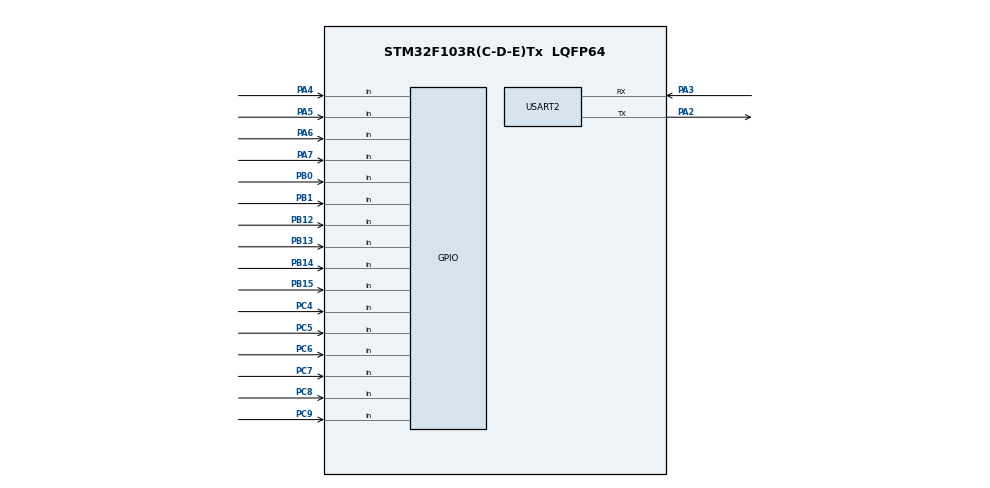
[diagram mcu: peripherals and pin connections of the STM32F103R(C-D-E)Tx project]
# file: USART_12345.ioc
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Mcu.Family=STM32F1
Mcu.Name=STM32F103R(C-D-E)Tx
Mcu.Package=LQFP64
NVIC.PriorityGroup=NVIC_PRIORITYGROUP_4
NVIC.TIM4_IRQn=true\:0\:0\:false\:false\:true\:true\:true
NVIC.USART2_IRQn=true\:0\:0\:false\:false\:true\:true\:true
PA13.Mode=Serial_Wire
PA13.Signal=SYS_JTMS-SWDIO
PA14.Mode=Serial_Wire
PA14.Signal=SYS_JTCK-SWCLK
PA2.Mode=Asynchronous
PA2.Signal=USART2_TX
PA3.Mode=Asynchronous
PA3.Signal=USART2_RX
PA4.Signal=GPIO_Input
PA5.Signal=GPIO_Input
PA6.Signal=GPIO_Input
PA7.Signal=GPIO_Input
PB0.Signal=GPIO_Input
PB1.Signal=GPIO_Input
PB12.Signal=GPIO_Input
PB13.Signal=GPIO_Input
PB14.Signal=GPIO_Input
PB15.Signal=GPIO_Input
PC4.Signal=GPIO_Input
PC5.Signal=GPIO_Input
PC6.Signal=GPIO_Input
PC7.Signal=GPIO_Input
PC8.Signal=GPIO_Input
PC9.Signal=GPIO_Input
ProjectManager.HeapSize=0x200
ProjectManager.StackSize=0x400
ProjectManager.TargetToolchain=MDK-ARM V5.27
RCC.APB1Freq_Value=8000000
RCC.APB2Freq_Value=8000000
TIM4.Period=7999
TIM4.Prescaler=999
USART2.VirtualMode=VM_ASYNC
VP_TIM4_VS_ClockSourceINT.Mode=Internal
board=custom

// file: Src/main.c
/* USER CODE BEGIN Header */
/**
  ******************************************************************************
  * @file           : main.c
  * @brief          : Main program body
  ******************************************************************************
  * @attention
  *
  * <h2><center>&copy; Copyright (c) 2020 STMicroelectronics.
  * All rights reserved.</center></h2>
  *
  * This software component is licensed by ST under BSD 3-Clause license,
  * the "License"; You may not use this file except in compliance with the
  * License. You may obtain a copy of the License at:
  *                        opensource.org/licenses/BSD-3-Clause
  *
  ******************************************************************************
  */
/* USER CODE END Header */

#include "main.h"
#include "stdio.h"
#include "string.h"

TIM_HandleTypeDef htim4;

UART_HandleTypeDef huart2;

void SystemClock_Config(void);
static void MX_GPIO_Init(void);
static void MX_TIM4_Init(void);
static void MX_USART2_UART_Init(void);

	void paint (int massiv[8][8], int  v)
 {
	 int i,j;
			for (int c; c<v;c++)// sickle delay infomation
			{
				for (int i=0;i<8;i++)
					for(int j=0;j<8;j++)
					{
						if(massiv[i][j]==1)// i == 1 amd j == 1
						{
							//on stolbec
							GPIOA -> ODR = 0xC0;
							GPIOB -> ODR = 0xF000;
							GPIOC -> ODR = 0x300;
							for ( int a=0;a<400;a++);// delay
							//on stroka
							GPIOA -> ODR |= 0x30;
							GPIOB -> ODR |= 0x3;
							GPIOC -> ODR |= 0xF0;
						}
						else
						{
														//on stolbec
							GPIOA -> ODR = 0xC0;
							GPIOB -> ODR = 0xF000;
							GPIOC -> ODR = 0x300;
							for ( int a=0;a<400;a++);// delay
							//on stroka
							GPIOA -> ODR |= 0x30;
							GPIOB -> ODR |= 0x3;
							GPIOC -> ODR |= 0xF0;
						}
			}
	}
}
int main(void)
{
  /* USER CODE BEGIN 1 */

	//USART

	uint8_t str[]="Hello, run led indication?\r\n";// dlia voltage

	//uint8_t slstroka[]="\r\n";

	//char kek[9];
  /* USER CODE END 1 */

  /* MCU Configuration--------------------------------------------------------*/

  /* Reset of all peripherals, Initializes the Flash interface and the Systick. */
  HAL_Init();

  /* Configure the system clock */
  SystemClock_Config();

  /* Initialize all configured peripherals */
  MX_GPIO_Init();
  MX_TIM4_Init();
  MX_USART2_UART_Init();

  /* Infinite loop */
  /* USER CODE BEGIN WHILE */

		HAL_UART_Transmit(&huart2,str,27,0xFFFF);// otpravka dannix
		HAL_Delay(100);
  while (1)
  {

	RCC->APB2ENR = 0x7C;// turn on shina APB2

	uint32_t row[8]={0x20000,0x200000, 0x2,0x20, 0x20000,0x200000,0x2000000,0x20000000};// string for CRL on HEX
	uint32_t col[8]={0x2000000,0x20000000, 0x20000,0x200000,0x2000000,0x2000000, 0x2,0x20};// collown for CRL and CRH on HEX

	//row = 4, 5,  0, 1,  4, 5, 6, 7
	//col = 6, 7,  12, 13, 14, 15,  8, 9

	int i=0,j=0,a,c, v=3;

	// symbol's array
	int massiv[8][8]= {

		1,1,1,1,1,1,1,1,
		1,0,0,0,0,0,0,1,
		1,0,0,0,0,0,0,1,
		1,0,0,1,1,0,0,1,
		1,0,0,1,1,0,0,1,
		1,0,0,0,0,0,0,1,
		1,0,0,0,0,0,0,1,
		1,1,1,1,1,1,1,1
	};
		RCC->APB2ENR = 0x7C;// turn on shina APB2
	//row = 4, 5,  0, 1,  4, 5, 6, 7
	//col = 6, 7,  12, 13, 14, 15,  8, 9

		for(int i=0; i<8;i++)//string pins turn on rejim pull-up-down
		{
				if(i==0 || i ==1){
				GPIOA -> CRL = row[i];
				}
				if(i==2 || i==3){
				GPIOB -> CRL = row[i];
				}
				if(i==4 || i==5 || i==6 || i==7 || i==8){
				GPIOC -> CRL = row[i];
				}
		}

	for(int i=0; i<8;i++)//row pins turn on rejim pull-up-down
		{
				if(i==0 || i ==1){
				GPIOA -> CRL |= col[i];
				}
				if(i==2 || i==3 || i==4 || i==5 || i==6){
				GPIOB -> CRH |= col[i];
				}
				if(i==7 || i==8){
				GPIOC -> CRH |= col[i];
				}
		}
				for(int i=0; i<8;i++)//string pins turn on rejim pull-up-down
		{
				if(i==0 || i ==1){
				GPIOA -> ODR = row[i];
				}
				if(i==2 || i==3){
				GPIOB -> ODR = row[i];
				}
				if(i==4 || i==5 || i==6 || i==7 || i==8){
				GPIOC -> ODR = row[i];
				}
		}
			while(1)
	{
		paint(massiv,v);
		//scroll(massiv,t);
	}

	  /*   Y8 -	40 PC9			   	 Y6 - 27 PB1
	in	 X5 -	39 PC8				   Y3 -1 26 PB0
	in	 X3 -	38 PC7				in X4 - 25 PC5
		   Y5 -	37 PC6				   Y1 - 24 PC4
	in	 X8 -	36 PB15				in X6 - 23 PA7
		   Y7 -	35 PB14				in X7 - 22 PA6
	in	 X2 - 34 PB13				   Y2 - 21 PA5
	in	 X1 - 33 PB12				   Y4 - 20 PA4

		 port A  4 5         6 7
		 port B  0 1         12 13 14 15
		 port C  4 5 6 7     8 9

 */
 			// 	1 	 2	 3	 4	 5	 6	 7	 8
			//	|		 |	 |	 |	 |	 |	 |	 |
			//	| 	 |	 |	 |	 |	 |	 |	 |
			//	13	 3   4   10  6   11  15  16
	//1--9 	*	  *	  *	  *	  *	  *	  *	  *

	//2--14 *	  *	  *	  *	  *	  *	  *	  *

	//3--8  *	  *	  *	  *	  *	  *	  *	  *

	//4--12 *	  *	  *	  *	  *	  *	  *	  *

	//5--1  *	  *	  *	  *	  *	  *	  *	  *

	//6--7  *	  *	  *	  *	  *	  *	  *	  *

	//7--2  *	  *	  *	  *	  *	  *	  *	  *

	//8--5  *	  *	  *	  *	  *	  *	  *	  *

	//---------------------------------------

 /*    Y8 -	40 PC9		--9			       Y6 - 27 PB1		--8
	in	 X5 -	39 PC8		--10				   Y3 -1 26 PB0		--7
	in	 X3 -	38 PC7		--11				in X4 - 25 PC5		--6
		   Y5 -	37 PC6		--12				   Y1 - 24 PC4		--5
	in	 X8 -	36 PB15		--13				in X6 - 23 PA7		--4
		   Y7 -	35 PB14		--14				in X7 - 22 PA6		--3
	in	 X2 - 34 PB13		--15				   Y2 - 21 PA5		--2
	in	 X1 - 33 PB12		--16				   Y4 - 20 PA4		--1

		 port A  4 5         6 7
		 port B  0 1         12 13 14 15
		 port C  4 5 6 7     8 9

 */

    /* USER CODE END WHILE */

  }
}

void SystemClock_Config(void)
{
  RCC_OscInitTypeDef RCC_OscInitStruct = {0};
  RCC_ClkInitTypeDef RCC_ClkInitStruct = {0};

  /** Initializes the CPU, AHB and APB busses clocks
  */
  RCC_OscInitStruct.OscillatorType = RCC_OSCILLATORTYPE_HSI;
  RCC_OscInitStruct.HSIState = RCC_HSI_ON;
  RCC_OscInitStruct.HSICalibrationValue = RCC_HSICALIBRATION_DEFAULT;
  RCC_OscInitStruct.PLL.PLLState = RCC_PLL_NONE;
  if (HAL_RCC_OscConfig(&RCC_OscInitStruct) != HAL_OK)
  {
    Error_Handler();
  }
  /** Initializes the CPU, AHB and APB busses clocks
  */
  RCC_ClkInitStruct.ClockType = RCC_CLOCKTYPE_HCLK|RCC_CLOCKTYPE_SYSCLK
                              |RCC_CLOCKTYPE_PCLK1|RCC_CLOCKTYPE_PCLK2;
  RCC_ClkInitStruct.SYSCLKSource = RCC_SYSCLKSOURCE_HSI;
  RCC_ClkInitStruct.AHBCLKDivider = RCC_SYSCLK_DIV1;
  RCC_ClkInitStruct.APB1CLKDivider = RCC_HCLK_DIV1;
  RCC_ClkInitStruct.APB2CLKDivider = RCC_HCLK_DIV1;

  if (HAL_RCC_ClockConfig(&RCC_ClkInitStruct, FLASH_LATENCY_0) != HAL_OK)
  {
    Error_Handler();
  }
}

static void MX_TIM4_Init(void)
{

  TIM_ClockConfigTypeDef sClockSourceConfig = {0};
  TIM_MasterConfigTypeDef sMasterConfig = {0};

  htim4.Instance = TIM4;
  htim4.Init.Prescaler = 999;
  htim4.Init.CounterMode = TIM_COUNTERMODE_UP;
  htim4.Init.Period = 7999;
  htim4.Init.ClockDivision = TIM_CLOCKDIVISION_DIV1;
  htim4.Init.AutoReloadPreload = TIM_AUTORELOAD_PRELOAD_DISABLE;
  if (HAL_TIM_Base_Init(&htim4) != HAL_OK)
  {
    Error_Handler();
  }
  sClockSourceConfig.ClockSource = TIM_CLOCKSOURCE_INTERNAL;
  if (HAL_TIM_ConfigClockSource(&htim4, &sClockSourceConfig) != HAL_OK)
  {
    Error_Handler();
  }
  sMasterConfig.MasterOutputTrigger = TIM_TRGO_RESET;
  sMasterConfig.MasterSlaveMode = TIM_MASTERSLAVEMODE_DISABLE;
  if (HAL_TIMEx_MasterConfigSynchronization(&htim4, &sMasterConfig) != HAL_OK)
  {
    Error_Handler();
  }

}

static void MX_USART2_UART_Init(void)
{

  huart2.Instance = USART2;
  huart2.Init.BaudRate = 115200;
  huart2.Init.WordLength = UART_WORDLENGTH_8B;
  huart2.Init.StopBits = UART_STOPBITS_1;
  huart2.Init.Parity = UART_PARITY_NONE;
  huart2.Init.Mode = UART_MODE_TX_RX;
  huart2.Init.HwFlowCtl = UART_HWCONTROL_NONE;
  huart2.Init.OverSampling = UART_OVERSAMPLING_16;
  if (HAL_UART_Init(&huart2) != HAL_OK)
  {
    Error_Handler();
  }

}

static void MX_GPIO_Init(void)
{
  GPIO_InitTypeDef GPIO_InitStruct = {0};

  /* GPIO Ports Clock Enable */
  __HAL_RCC_GPIOA_CLK_ENABLE();
  __HAL_RCC_GPIOC_CLK_ENABLE();
  __HAL_RCC_GPIOB_CLK_ENABLE();

  /*Configure GPIO pins : PA4 PA5 PA6 PA7 */
  GPIO_InitStruct.Pin = GPIO_PIN_4|GPIO_PIN_5|GPIO_PIN_6|GPIO_PIN_7;
  GPIO_InitStruct.Mode = GPIO_MODE_INPUT;
  GPIO_InitStruct.Pull = GPIO_NOPULL;
  HAL_GPIO_Init(GPIOA, &GPIO_InitStruct);

  /*Configure GPIO pins : PC4 PC5 PC6 PC7
                           PC8 PC9 */
  GPIO_InitStruct.Pin = GPIO_PIN_4|GPIO_PIN_5|GPIO_PIN_6|GPIO_PIN_7
                          |GPIO_PIN_8|GPIO_PIN_9;
  GPIO_InitStruct.Mode = GPIO_MODE_INPUT;
  GPIO_InitStruct.Pull = GPIO_NOPULL;
  HAL_GPIO_Init(GPIOC, &GPIO_InitStruct);

  /*Configure GPIO pins : PB0 PB1 PB12 PB13
                           PB14 PB15 */
  GPIO_InitStruct.Pin = GPIO_PIN_0|GPIO_PIN_1|GPIO_PIN_12|GPIO_PIN_13
                          |GPIO_PIN_14|GPIO_PIN_15;
  GPIO_InitStruct.Mode = GPIO_MODE_INPUT;
  GPIO_InitStruct.Pull = GPIO_NOPULL;
  HAL_GPIO_Init(GPIOB, &GPIO_InitStruct);

}

void Error_Handler(void)
{
}

/************************ (C) COPYRIGHT STMicroelectronics *****END OF FILE****/
